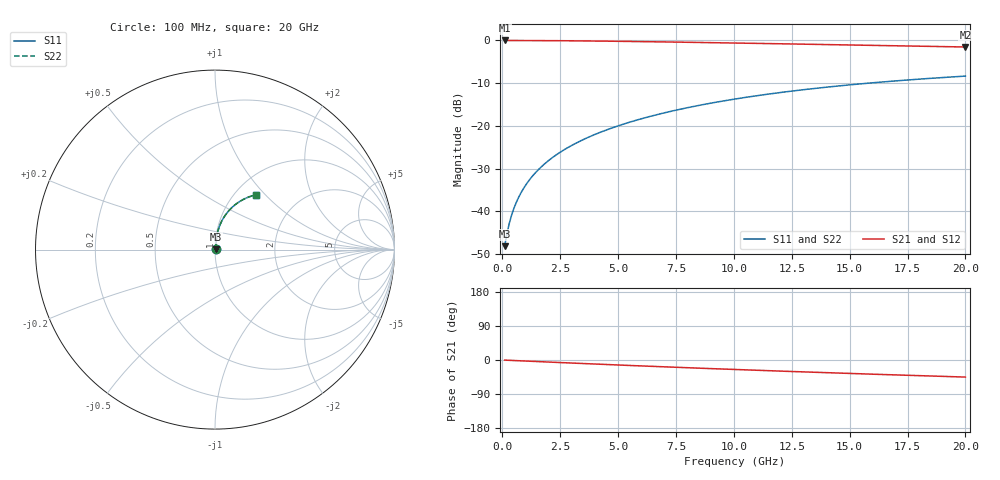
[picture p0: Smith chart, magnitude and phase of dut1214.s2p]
! Touchstone file exported from HFSS 2024.1.0
!  File:  C:/UserFiles/LocalFiles/RDL_TSV_Batchsim/temp_RDL_bottom_1214_1780243847.aedt
!  Generated:  12:13:09 AM Jun  1, 2026
!  Design:  RDL_bottom
!  Project:  temp_RDL_bottom_1214_1780243847
!  Setup:  Setup1
!  Solution:  Sweep
! Variables:
!  dtsv = 10.80580581um
!  hbump = 3um
!  htsv = 90.67um
!  ldown = 658.7um
!  lrdl = 100um
!  p = 40
!  p1 = 46.74um
!  rhole = 1um
!  t = 450um
!  tdown = 3.57um
!  trdl = 3.915915916um
!  wdown = 21.17um
!  wrdl = 20um
# GHz S MA R 50.000000
! Terminal data exported
! Port[1] = RDL1_T1
! Port[2] = RDL1_T2
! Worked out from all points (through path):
!   200 points, 100 MHz to 20 GHz, reference 50 ohm
!   highest |S21| = -0.03 dB at 100 MHz (marker M1); lowest = -1.6 dB at 20 GHz (marker M2)
!   group delay of S21, straight-line fit = 6.22 ps
!   lowest |S11| = -48.1 dB at 100 MHz (marker M3), VSWR 1.01, Z = 50.3 + j0.219 ohm
!   |S11| at or under -10 dB: start of sweep to 15.83 GHz
!   |S22| runs from -48.1 to -8.4 dB; largest |S21 - S12| = 3.7e-15
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0.1  0.003932 33.6  0.9967 -0.3  0.9967 -0.3  0.003932 33.6
! Gamma 0 0 0 0
! Port Impedance 50 0 50 0
0.2  0.00548 51.1  0.9965 -0.6  0.9965 -0.6  0.00548 51.1
0.3  0.007236 60.0  0.9963 -0.8  0.9963 -0.8  0.007236 60.0
0.4  0.009035 65.2  0.9961 -1.1  0.9961 -1.1  0.009035 65.2
0.5  0.01085 68.8  0.9959 -1.4  0.9959 -1.4  0.01085 68.8
0.6  0.01268 71.5  0.9957 -1.7  0.9957 -1.7  0.01268 71.5
0.8  0.01638 75.1  0.9953 -2.2  0.9953 -2.2  0.01638 75.1
1.1  0.02203 78.2  0.9947 -3.0  0.9947 -3.0  0.02203 78.2
1.3  0.02584 79.5  0.9942 -3.5  0.9942 -3.5  0.02584 79.5
1.6  0.03162 80.8  0.9934 -4.3  0.9934 -4.3  0.03162 80.8
2.1  0.04136 82.0  0.9916 -5.7  0.9916 -5.7  0.04136 82.0
2.7  0.05321 82.5  0.989 -7.3  0.989 -7.3  0.05321 82.5
3.5  0.06928 82.5  0.9847 -9.4  0.9847 -9.4  0.06927 82.5
4.2  0.08356 82.1  0.9802 -11.2  0.9802 -11.2  0.08355 82.1
5  0.1001 81.3  0.9745 -13.2  0.9745 -13.2  0.1001 81.3
6.8  0.138 78.8  0.9599 -17.6  0.9599 -17.6  0.1379 78.7
8.4  0.1718 76.0  0.9457 -21.3  0.9457 -21.3  0.1717 76.0
10.1  0.2072 72.7  0.9299 -25.2  0.9299 -25.2  0.2071 72.7
11.7  0.2395 69.5  0.9146 -28.6  0.9146 -28.6  0.2395 69.5
13.4  0.2724 66.0  0.8983 -32.2  0.8983 -32.2  0.2724 66.0
16.7  0.331 59.4  0.8667 -38.8  0.8667 -38.8  0.331 59.4
20  0.3819 53.1  0.836 -45.1  0.836 -45.1  0.3819 53.1
